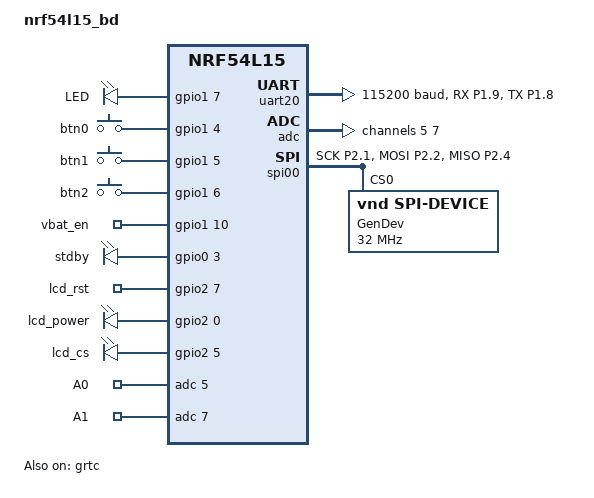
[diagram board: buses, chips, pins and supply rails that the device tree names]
/dts-v1/;
#include <nordic/nrf54l15_cpuapp.dtsi>
#include "NRF54L15_BD-pinctrl.dtsi"

/ {
	model = "nrf54l15_bd";
	compatible = "baram,NRF54L15-BD-cpuapp";

	chosen {
		zephyr,code-partition = &slot0_partition;
		zephyr,sram = &cpuapp_sram;
		zephyr,flash = &cpuapp_rram;
		zephyr,flash-controller = &rram_controller;
    zephyr,console = &uart20;
	};

  leds {
    compatible = "gpio-leds";
    led: led_0 {
      gpios = <&gpio1 7 GPIO_ACTIVE_HIGH>;
      label = "LED";
    };
  };

  buttons {
		compatible = "gpio-keys";
		btn0: btn_0 { 
			gpios = <&gpio1 4 (GPIO_ACTIVE_HIGH)>;
			label = "btn0";
		};
		btn1: btn_1 {
			gpios = <&gpio1 5 (GPIO_ACTIVE_HIGH)>;
			label = "btn1";
		};  
		btn2: btn_2 {
			gpios = <&gpio1 6 (GPIO_ACTIVE_HIGH)>;
			label = "btn2";
		};
  };

  vbat_gpio {    		
		compatible = "gpio-leds";
    vbat_en: vbat_en {			
      gpios = <&gpio1 10 GPIO_ACTIVE_HIGH>;     
			label = "vbat_en";			 
    };

		stdby: stdby {
			gpios = <&gpio0 3 GPIO_OPEN_DRAIN>;
			label = "stdby";
		};
  };

  gpio_pins {    		
		compatible = "gpio-leds";
    lcd_rst: lcd_rst {			
      gpios = <&gpio2 7 GPIO_ACTIVE_HIGH>;     
			label = "lcd_rst";			 
    };

		lcd_power: lcd_power {
			gpios = <&gpio2 0 GPIO_ACTIVE_HIGH>;
			label = "lcd_power";
		}; 		

		spi_cs: spi_cs {
			gpios = <&gpio2 5 GPIO_ACTIVE_HIGH>;
			label = "lcd_cs";
		};    
  };

	zephyr,user {
		io-channels = <&adc 5>, <&adc 7>;
		io-channel-names = "A0", "A1";
	};
};

&grtc {
	owned-channels = <0 1 2 3 4 5 6 7 8 9 10 11>;
	/* Channels 7-11 reserved for Zero Latency IRQs, 3-4 for FLPR */
	child-owned-channels = <3 4 7 8 9 10 11>;
	status = "okay";
};

&cpuapp_sram {
	status = "okay";
};

#include <nordic/nrf54l15_partition.dtsi>

&clock {
  status = "okay";
};

&gpio1 {
  status = "okay";
};

&gpio2 {
  status = "okay";
};

&gpiote20 {
  status = "okay";
};

&gpiote30 {
  status = "okay";
};

&gpio0 {
	status = "okay";
};

&uart20 {
  status = "okay";
  current-speed = <115200>;
  pinctrl-0 = <&uart20_default>;
  pinctrl-1 = <&uart20_sleep>;
	zephyr,pm-device-runtime-auto;
  pinctrl-names = "default", "sleep";
};

&adc {
	status = "okay";
	#address-cells = <1>;
	#size-cells = <0>;
	status = "okay";
	channel@5 {
		reg = <5>;
		zephyr,gain = "ADC_GAIN_2_7";
		zephyr,reference = "ADC_REF_INTERNAL";
		zephyr,acquisition-time = <ADC_ACQ_TIME_DEFAULT>;
		zephyr,input-positive = <NRF_SAADC_AIN5>;
		zephyr,resolution = <12>;
	};	
	channel@7 {
		reg = <7>;
		zephyr,gain = "ADC_GAIN_2_7";
		zephyr,reference = "ADC_REF_INTERNAL";
		zephyr,acquisition-time = <ADC_ACQ_TIME_DEFAULT>;
		zephyr,input-positive = <NRF_SAADC_AIN7>; 
		zephyr,resolution = <12>;
	};		
};


&pinctrl {
  uart20_default: uart20_default {
    group1 {
      psels = <NRF_PSEL(UART_RX, 1, 9)>, <NRF_PSEL(UART_TX, 1, 8)>;
    };
  };

  uart20_sleep: uart20_sleep {
    group1 {
      psels = <NRF_PSEL(UART_TX, 1, 8)>;
			bias-pull-up;
			low-power-enable;
    };

    group2 {
      psels = <NRF_PSEL(UART_RX, 1, 9)>;
			bias-pull-down;
      low-power-enable;
    };
  };

	spi00_default: spi00_default {
		group1 {
			psels = <NRF_PSEL(SPIM_SCK, 2, 1)>,
							<NRF_PSEL(SPIM_MOSI, 2, 2)>,
							<NRF_PSEL(SPIM_MISO, 2, 4)>;
		};
	};

	spi00_sleep: spi00_sleep {
		group1 {
			psels = <NRF_PSEL(SPIM_SCK, 2, 1)>,
							<NRF_PSEL(SPIM_MOSI, 2, 2)>,
							<NRF_PSEL(SPIM_MISO, 2, 4)>;
			low-power-enable;
		};
	};
};

&spi00 {
	status = "okay";
	pinctrl-0 = <&spi00_default>;
	pinctrl-1 = <&spi00_sleep>;
	pinctrl-names = "default", "sleep";

	zephyr,pm-device-runtime-auto;
	gendev: gendev@0 {
		compatible = "vnd,spi-device";
		reg = <0>;
		spi-max-frequency = <32000000>;
		label = "GenDev";
	};	
};
